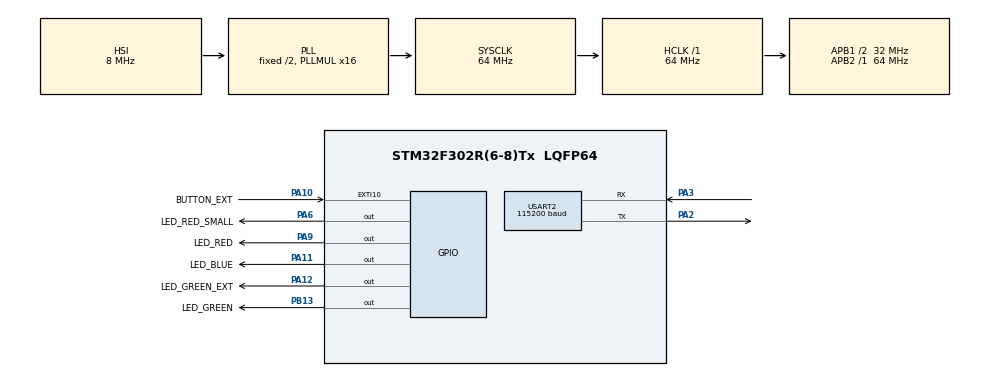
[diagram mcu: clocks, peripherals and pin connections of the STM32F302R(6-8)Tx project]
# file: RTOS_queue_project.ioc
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Mcu.Family=STM32F3
Mcu.Name=STM32F302R(6-8)Tx
Mcu.Package=LQFP64
NVIC.EXTI15_10_IRQn=true\:6\:0\:true\:false\:true\:true\:true\:true
NVIC.PriorityGroup=NVIC_PRIORITYGROUP_4
NVIC.TIM6_DAC_IRQn=true\:15\:0\:false\:false\:true\:false\:true\:true
NVIC.TimeBase=TIM6_DAC_IRQn
NVIC.TimeBaseIP=TIM6
NVIC.USART2_IRQn=true\:6\:0\:true\:false\:true\:true\:true\:true
PA10.GPIO_Label=BUTTON_EXT
PA10.GPIO_ModeDefaultEXTI=GPIO_MODE_IT_FALLING
PA10.Signal=GPXTI10
PA11.GPIO_Label=LED_BLUE
PA11.Signal=GPIO_Output
PA12.GPIO_Label=LED_GREEN_EXT
PA12.Signal=GPIO_Output
PA13.Mode=Serial_Wire
PA13.Signal=SYS_JTMS-SWDIO
PA14.Mode=Serial_Wire
PA14.Signal=SYS_JTCK-SWCLK
PA2.Mode=Asynchronous
PA2.Signal=USART2_TX
PA3.Mode=Asynchronous
PA3.Signal=USART2_RX
PA6.GPIO_Label=LED_RED_SMALL
PA6.Signal=GPIO_Output
PA9.GPIO_Label=LED_RED
PA9.Signal=GPIO_Output
PB13.GPIO_Label=LED_GREEN
PB13.Signal=GPIO_Output
ProjectManager.HeapSize=0x200
ProjectManager.StackSize=0x400
ProjectManager.TargetToolchain=STM32CubeIDE
RCC.AHBFreq_Value=64000000
RCC.APB1CLKDivider=RCC_HCLK_DIV2
RCC.APB1Freq_Value=32000000
RCC.APB1TimFreq_Value=64000000
RCC.APB2Freq_Value=64000000
RCC.APB2TimFreq_Value=64000000
RCC.CortexFreq_Value=64000000
RCC.HCLKFreq_Value=64000000
RCC.HSE_VALUE=8000000
RCC.HSI_VALUE=8000000
RCC.LSE_VALUE=32768
RCC.PLLM=8
RCC.PLLMUL=RCC_PLL_MUL16
RCC.PLLN=336
RCC.PLLP=RCC_PLLP_DIV4
RCC.PLLQ=7
RCC.RCC_PLLsource_Clock_Source_FROM_HSE=RCC_HSE_PREDIV_DIV2
RCC.SYSCLKFreq_VALUE=64000000
RCC.SYSCLKSourceVirtual=RCC_SYSCLKSOURCE_PLLCLK
RCC.USBFreq_Value=64000000
RTC.HourFormat=RTC_HOURFORMAT_12
USART2.BaudRate=115200
USART2.VirtualMode-Asynchronous=VM_ASYNC
VP_RTC_VS_RTC_Activate.Mode=RTC_Enabled
VP_SYS_VS_tim6.Mode=TIM6
board=NUCLEO-F302R8

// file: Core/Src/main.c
/* USER CODE BEGIN Header */
/**
  ******************************************************************************
  * @file           : main.c
  * @brief          : Main program body
  ******************************************************************************
  * @attention
  *
  * Copyright (c) 2025 STMicroelectronics.
  * All rights reserved.
  *
  * This software is licensed under terms that can be found in the LICENSE file
  * in the root directory of this software component.
  * If no LICENSE file comes with this software, it is provided AS-IS.
  *
  ******************************************************************************
  */
/* USER CODE END Header */
#include "main.h"
#include "rtc.h"
#include "usart.h"
#include "gpio.h"

/* USER CODE BEGIN Includes */
#include <string.h>
#include "FreeRTOS.h"
#include "SEGGER_SYSVIEW.h"
#include "task.h"
#include "queue.h"
#include "timers.h"
#include "task_handler.h"
/* USER CODE END Includes */

/* USER CODE BEGIN PV */

TaskHandle_t handle_led_task;
TaskHandle_t handle_rtc_task;
TaskHandle_t handle_menu_task;
TaskHandle_t handle_print_task;
TaskHandle_t handle_cmd_task;

QueueHandle_t q_print;
QueueHandle_t q_data;

TimerHandle_t handle_led_timer[4];
TimerHandle_t handle_rtc_timer;

uint8_t userData;

state_t currState = sMainMenu;

/* USER CODE END PV */

void SystemClock_Config(void);
/* USER CODE BEGIN PFP */

void vApplicationStackOverflowHook(TaskHandle_t xTask, char *pcTaskName)
{
    // Handle error: a task has run out of stack space
    // You could log, blink an LED, reset the MCU, etc.

    (void)xTask;
    (void)pcTaskName;

    // For debugging: stay here
    taskDISABLE_INTERRUPTS();
    for(;;);
}

/* USER CODE END PFP */

int main(void)
{

  /* MCU Configuration--------------------------------------------------------*/

  /* Reset of all peripherals, Initializes the Flash interface and the Systick. */
  HAL_Init();

  /* USER CODE BEGIN Init */
  BaseType_t status;
  /* USER CODE END Init */

  /* Configure the system clock */
  SystemClock_Config();

  /* Initialize all configured peripherals */
  MX_GPIO_Init();
  MX_USART2_UART_Init();
  MX_RTC_Init();
  /* USER CODE BEGIN 2 */

  //NEED TO DEFINE THIS AGAIN because FREERTOS initializes this in vTaskStartScheduler, but SEGGER_SYSVIEW_start() needs it earlier!!!
  //cannot start without it (it is initialized by HAL after the scheduler start)
  NVIC_SetPriorityGrouping(0);  // same as NVIC_PRIORITYGROUP_4
  SEGGER_SYSVIEW_Conf();
  SEGGER_SYSVIEW_Start();

  status = xTaskCreate(menu_task, "Menu Task", 128, NULL, 2, &handle_menu_task);
  configASSERT(status == pdPASS);

  status = xTaskCreate(led_task, "LED Task", 256, NULL, 1, &handle_led_task);
  configASSERT(status == pdPASS);

  status = xTaskCreate(rtc_task, "RTC Task", 768, NULL, 1, &handle_rtc_task);
  configASSERT(status == pdPASS);

  status = xTaskCreate(print_task, "Print Task", 128, NULL, 1, &handle_print_task);
  configASSERT(status == pdPASS);

  status = xTaskCreate(cmd_handler_task, "Command Handler Task", 128, NULL, 1, &handle_cmd_task);
  configASSERT(status == pdPASS);

  q_print = xQueueCreate(10 , sizeof(size_t));
  configASSERT(q_print != NULL);

  q_data = xQueueCreate(10 , sizeof(char));
  configASSERT(q_data != NULL);

  //Create SW timers for LED effects and RTC reporting

  for (int i=0; i<4; i++) {
	  handle_led_timer[i] = xTimerCreate("led_timer", pdMS_TO_TICKS(500), pdTRUE, (void*)(i+1), led_effect_callback);
	  configASSERT(handle_led_timer[i] != NULL);
  }

  handle_rtc_timer = xTimerCreate("rtc_report_timer", pdMS_TO_TICKS(1000), pdTRUE, 5, rtc_timer_callback);
  configASSERT(handle_rtc_timer != NULL);

  HAL_UART_Receive_IT(&huart2, &userData, 1);

  vTaskStartScheduler();

  /* USER CODE END 2 */

  /* Infinite loop */
  while (1)
  {

  }
}

void SystemClock_Config(void)
{
  RCC_OscInitTypeDef RCC_OscInitStruct = {0};
  RCC_ClkInitTypeDef RCC_ClkInitStruct = {0};
  RCC_PeriphCLKInitTypeDef PeriphClkInit = {0};

  /** Initializes the RCC Oscillators according to the specified parameters
  * in the RCC_OscInitTypeDef structure.
  */
  RCC_OscInitStruct.OscillatorType = RCC_OSCILLATORTYPE_HSI|RCC_OSCILLATORTYPE_LSI;
  RCC_OscInitStruct.HSIState = RCC_HSI_ON;
  RCC_OscInitStruct.HSICalibrationValue = RCC_HSICALIBRATION_DEFAULT;
  RCC_OscInitStruct.LSIState = RCC_LSI_ON;
  RCC_OscInitStruct.PLL.PLLState = RCC_PLL_ON;
  RCC_OscInitStruct.PLL.PLLSource = RCC_PLLSOURCE_HSI;
  RCC_OscInitStruct.PLL.PLLMUL = RCC_PLL_MUL16;
  if (HAL_RCC_OscConfig(&RCC_OscInitStruct) != HAL_OK)
  {
    Error_Handler();
  }

  /** Initializes the CPU, AHB and APB buses clocks
  */
  RCC_ClkInitStruct.ClockType = RCC_CLOCKTYPE_HCLK|RCC_CLOCKTYPE_SYSCLK
                              |RCC_CLOCKTYPE_PCLK1|RCC_CLOCKTYPE_PCLK2;
  RCC_ClkInitStruct.SYSCLKSource = RCC_SYSCLKSOURCE_PLLCLK;
  RCC_ClkInitStruct.AHBCLKDivider = RCC_SYSCLK_DIV1;
  RCC_ClkInitStruct.APB1CLKDivider = RCC_HCLK_DIV2;
  RCC_ClkInitStruct.APB2CLKDivider = RCC_HCLK_DIV1;

  if (HAL_RCC_ClockConfig(&RCC_ClkInitStruct, FLASH_LATENCY_2) != HAL_OK)
  {
    Error_Handler();
  }
  PeriphClkInit.PeriphClockSelection = RCC_PERIPHCLK_RTC;
  PeriphClkInit.RTCClockSelection = RCC_RTCCLKSOURCE_LSI;
  if (HAL_RCCEx_PeriphCLKConfig(&PeriphClkInit) != HAL_OK)
  {
    Error_Handler();
  }
}

/* USER CODE BEGIN 4 */

void led_effect_callback(TimerHandle_t xTimer){

	int id;
	id = (uint32_t) pvTimerGetTimerID(xTimer);

	switch (id){
	case 1:
		LED_effect1();
		break;
	case 2:
		LED_effect2();
		break;
	case 3:
		LED_effect3();
		break;
	case 4:
		LED_effect4();
		break;

	}

}

void rtc_timer_callback(TimerHandle_t xTimer){
	show_time_date_itm();
}

//This executes in interrupt context when receive from UART is completed.
void HAL_UART_RxCpltCallback(UART_HandleTypeDef *huart)
{

	BaseType_t status;
	uint8_t temp;

	if (! xQueueIsQueueFullFromISR(q_data)){
		status = xQueueSendToBackFromISR(q_data, &userData, NULL);
		configASSERT(status == pdPASS);
	}
	else {
		if (userData == '\n'){
			//need to force the last character to \n
			xQueueReceiveFromISR(q_data, (void*)&temp, NULL);
			xQueueSendToBackFromISR(q_data, &userData, NULL);
		}
	}
	if (userData == '\n'){
		//Notify cmd task
		xTaskNotifyFromISR(handle_cmd_task, 0, eNoAction, NULL);
	}
	//echo char (non blocking transmit through Interrupt mode
	HAL_UART_Transmit_IT(&huart2, (uint8_t*) &userData, strlen((char*)&userData));
	//Receive next character
	HAL_UART_Receive_IT(&huart2, &userData, 1);

}

/* USER CODE END 4 */

void HAL_TIM_PeriodElapsedCallback(TIM_HandleTypeDef *htim)
{
  if (htim->Instance == TIM6)
  {
    HAL_IncTick();
  }
}

void Error_Handler(void)
{
  __disable_irq();
  while (1)
  {
  }
}
